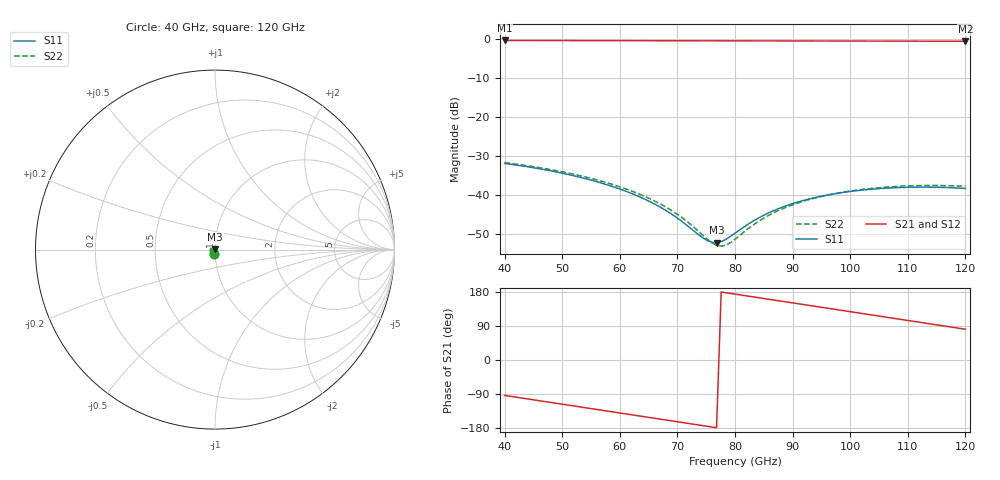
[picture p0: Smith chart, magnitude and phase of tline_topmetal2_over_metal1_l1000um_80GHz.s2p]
#  GHZ S DB R 50
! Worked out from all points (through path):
!   101 points, 40 GHz to 120 GHz, reference 50 ohm
!   highest |S21| = -0.39 dB at 40 GHz (marker M1); lowest = -0.6 dB at 120 GHz (marker M2)
!   group delay of S21, straight-line fit = 6.43 ps
!   lowest |S11| = -52.1 dB at 76.8 GHz (marker M3), VSWR 1.00, Z = 50.1 + j0.235 ohm
!   |S11| at or under -10 dB: start of sweep to end of sweep
!   |S22| runs from -53.0 to -31.6 dB; largest |S21 - S12| = 1.1e-14
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40  -31.86 -96.7  -0.39 -93.5  -0.39 -93.5  -31.65 -96.7
46.4  -33.31 -115.7  -0.41 -108.3  -0.41 -108.3  -33.02 -115.5
49.6  -34.22 -125.5  -0.42 -115.7  -0.42 -115.7  -33.89 -125.1
53.6  -35.58 -138.0  -0.43 -125.0  -0.43 -125.0  -35.17 -137.4
60.8  -38.83 -162.3  -0.45 -141.7  -0.45 -141.7  -38.24 -160.8
64  -40.77 -174.6  -0.45 -149.1  -0.45 -149.1  -40.08 -172.3
67.2  -43.19 171.1  -0.46 -156.5  -0.46 -156.5  -42.35 174.6
71.2  -47.16 146.3  -0.47 -165.7  -0.47 -165.7  -46.16 153.3
74.4  -50.88 111.6  -0.48 -173.2  -0.48 -173.2  -50.20 124.9
76  -52.04 85.5  -0.48 -176.9  -0.48 -176.9  -52.17 101.6
76.8  -52.13 71.2  -0.49 -178.7  -0.49 -178.7  -52.81 87.0
77.6  -51.85 57.4  -0.49 179.4  -0.49 179.4  -53.02 71.3
78.4  -51.29 44.8  -0.49 177.6  -0.49 177.6  -52.76 55.8
80  -49.72 24.4  -0.49 173.9  -0.49 173.9  -51.25 29.9
83.2  -46.56 -2.4  -0.50 166.5  -0.50 166.5  -47.56 -1.7
86.4  -44.13 -20.0  -0.51 159.0  -0.51 159.0  -44.72 -20.5
89.6  -42.33 -34.0  -0.52 151.6  -0.52 151.6  -42.66 -34.7
93.6  -40.69 -49.1  -0.53 142.4  -0.53 142.4  -40.81 -49.7
100.8  -38.88 -73.6  -0.55 125.7  -0.55 125.7  -38.75 -73.6
107.2  -38.11 -94.0  -0.56 110.9  -0.56 110.9  -37.82 -93.4
113.6  -37.93 -114.0  -0.58 96.0  -0.58 96.0  -37.50 -112.6
120  -38.25 -133.8  -0.60 81.2  -0.60 81.2  -37.69 -131.5
